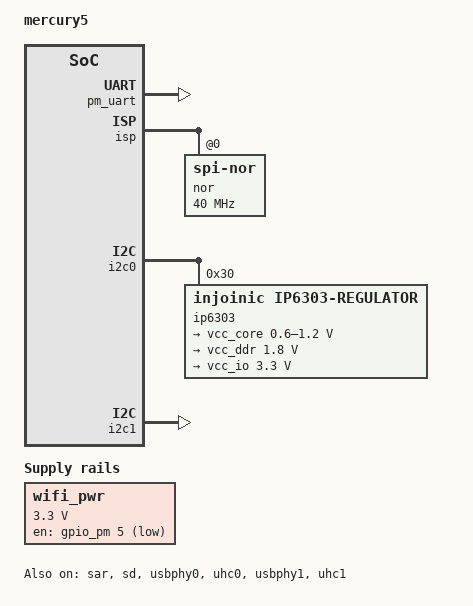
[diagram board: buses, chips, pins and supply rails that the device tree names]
// SPDX-License-Identifier: GPL-2.0
/*
 * Copyright (c) 2019 thingy.jp.
 * Author: Daniel Palmer <daniel@thingy.jp>
 */

/dts-v1/;

#include "mercury5-ssc8336n.dtsi"
#include <dt-bindings/gpio/gpio.h>

/ {
	model = "mercury5";
	compatible = "mstar,mercury5";
	
	chosen {
		stdout-path = "serial0:115200n8";
		bootargs = "console=ttyS0,115200 root=/dev/mtdblock3 clk_ignore_unused earlyprintk=serial,ttyS0,115200";
	};
	
	dummyirq: dummyirq@0 {
		compatible = "dummy-irq";
		interrupts-extended = <&intc_irq 63 IRQ_TYPE_LEVEL_HIGH>,
				      <&intc_irq 62 IRQ_TYPE_LEVEL_HIGH>,
			      <&intc_irq 61 IRQ_TYPE_LEVEL_HIGH>,
				<&intc_irq 60 IRQ_TYPE_LEVEL_HIGH>,
				<&intc_irq 59 IRQ_TYPE_LEVEL_HIGH>,
				<&intc_irq 58 IRQ_TYPE_LEVEL_HIGH>,
				<&intc_irq 57 IRQ_TYPE_LEVEL_HIGH>,
				<&intc_irq 56 IRQ_TYPE_LEVEL_HIGH>,
				<&intc_irq 55 IRQ_TYPE_LEVEL_HIGH>,
				<&intc_irq 54 IRQ_TYPE_LEVEL_HIGH>,
				<&intc_irq 53 IRQ_TYPE_LEVEL_HIGH>,
				<&intc_irq 52 IRQ_TYPE_LEVEL_HIGH>,
				<&intc_irq 51 IRQ_TYPE_LEVEL_HIGH>,
				<&intc_irq 50 IRQ_TYPE_LEVEL_HIGH>,
				<&intc_irq 49 IRQ_TYPE_LEVEL_HIGH>,
				<&intc_irq 48 IRQ_TYPE_LEVEL_HIGH>,
				<&intc_irq 47 IRQ_TYPE_LEVEL_HIGH>,
				<&intc_irq 46 IRQ_TYPE_LEVEL_HIGH>,
				<&intc_irq 45 IRQ_TYPE_LEVEL_HIGH>,
				<&intc_irq 44 IRQ_TYPE_LEVEL_HIGH>,
				<&intc_irq 43 IRQ_TYPE_LEVEL_HIGH>,
				<&intc_irq 42 IRQ_TYPE_LEVEL_HIGH>,
				<&intc_irq 41 IRQ_TYPE_LEVEL_HIGH>,
				<&intc_irq 40 IRQ_TYPE_LEVEL_HIGH>,
				<&intc_irq 39 IRQ_TYPE_LEVEL_HIGH>,
				<&intc_irq 38 IRQ_TYPE_LEVEL_HIGH>,
				<&intc_irq 37 IRQ_TYPE_LEVEL_HIGH>,
				<&intc_irq 36 IRQ_TYPE_LEVEL_HIGH>,
				<&intc_irq 35 IRQ_TYPE_LEVEL_HIGH>,
				<&intc_irq 34 IRQ_TYPE_LEVEL_HIGH>,
				<&intc_irq 33 IRQ_TYPE_LEVEL_HIGH>,
				<&intc_irq 32 IRQ_TYPE_LEVEL_HIGH>,
				<&intc_irq 31 IRQ_TYPE_LEVEL_HIGH>,
				<&intc_irq 30 IRQ_TYPE_LEVEL_HIGH>,
				<&intc_irq 29 IRQ_TYPE_LEVEL_HIGH>,
				<&intc_irq 28 IRQ_TYPE_LEVEL_HIGH>,
				<&intc_irq 27 IRQ_TYPE_LEVEL_HIGH>,
				<&intc_irq 26 IRQ_TYPE_LEVEL_HIGH>,
				<&intc_irq 25 IRQ_TYPE_LEVEL_HIGH>,
				<&intc_irq 24 IRQ_TYPE_LEVEL_HIGH>,
				<&intc_irq 23 IRQ_TYPE_LEVEL_HIGH>,
				<&intc_irq 22 IRQ_TYPE_LEVEL_HIGH>,
				<&intc_irq 21 IRQ_TYPE_LEVEL_HIGH>,
				<&intc_irq 20 IRQ_TYPE_LEVEL_HIGH>,
				<&intc_irq 19 IRQ_TYPE_LEVEL_HIGH>,
				<&intc_irq 18 IRQ_TYPE_LEVEL_HIGH>,
				<&intc_irq 17 IRQ_TYPE_LEVEL_HIGH>,
				<&intc_irq 16 IRQ_TYPE_LEVEL_HIGH>,
				<&intc_irq 15 IRQ_TYPE_LEVEL_HIGH>,
				<&intc_irq 14 IRQ_TYPE_LEVEL_HIGH>,
				<&intc_irq 13 IRQ_TYPE_LEVEL_HIGH>,
				<&intc_irq 12 IRQ_TYPE_LEVEL_HIGH>,
				<&intc_irq 11 IRQ_TYPE_LEVEL_HIGH>,
				<&intc_irq 10 IRQ_TYPE_LEVEL_HIGH>,
				<&intc_irq 9 IRQ_TYPE_LEVEL_HIGH>,
				<&intc_irq 8 IRQ_TYPE_LEVEL_HIGH>,
				<&intc_irq 7 IRQ_TYPE_LEVEL_HIGH>,
				<&intc_irq 6 IRQ_TYPE_LEVEL_HIGH>,
				<&intc_irq 5 IRQ_TYPE_LEVEL_HIGH>,
				<&intc_irq 4 IRQ_TYPE_LEVEL_HIGH>,
				<&intc_irq 3 IRQ_TYPE_LEVEL_HIGH>,
				<&intc_irq 2 IRQ_TYPE_LEVEL_HIGH>,
				<&intc_irq 1 IRQ_TYPE_LEVEL_HIGH>,
				<&intc_irq 0 IRQ_TYPE_LEVEL_HIGH>,

				<&intc_fiq 31 IRQ_TYPE_LEVEL_HIGH>,
				<&intc_fiq 30 IRQ_TYPE_LEVEL_HIGH>,
				<&intc_fiq 29 IRQ_TYPE_LEVEL_HIGH>,
				<&intc_fiq 28 IRQ_TYPE_LEVEL_HIGH>,
				<&intc_fiq 27 IRQ_TYPE_LEVEL_HIGH>,
				<&intc_fiq 26 IRQ_TYPE_LEVEL_HIGH>,
				<&intc_fiq 25 IRQ_TYPE_LEVEL_HIGH>,
				<&intc_fiq 24 IRQ_TYPE_LEVEL_HIGH>,
				<&intc_fiq 23 IRQ_TYPE_LEVEL_HIGH>,
				<&intc_fiq 22 IRQ_TYPE_LEVEL_HIGH>,
				<&intc_fiq 21 IRQ_TYPE_LEVEL_HIGH>,
				<&intc_fiq 20 IRQ_TYPE_LEVEL_HIGH>,
				<&intc_fiq 19 IRQ_TYPE_LEVEL_HIGH>,
				<&intc_fiq 18 IRQ_TYPE_LEVEL_HIGH>,
				<&intc_fiq 17 IRQ_TYPE_LEVEL_HIGH>,
				<&intc_fiq 16 IRQ_TYPE_LEVEL_HIGH>,
				<&intc_fiq 15 IRQ_TYPE_LEVEL_HIGH>,
				<&intc_fiq 14 IRQ_TYPE_LEVEL_HIGH>,
				<&intc_fiq 13 IRQ_TYPE_LEVEL_HIGH>,
				<&intc_fiq 12 IRQ_TYPE_LEVEL_HIGH>,
				<&intc_fiq 11 IRQ_TYPE_LEVEL_HIGH>,
				<&intc_fiq 10 IRQ_TYPE_LEVEL_HIGH>,
				<&intc_fiq 9 IRQ_TYPE_LEVEL_HIGH>,
				<&intc_fiq 8 IRQ_TYPE_LEVEL_HIGH>,
				<&intc_fiq 7 IRQ_TYPE_LEVEL_HIGH>,
				<&intc_fiq 6 IRQ_TYPE_LEVEL_HIGH>,
				<&intc_fiq 5 IRQ_TYPE_LEVEL_HIGH>,
				<&intc_fiq 4 IRQ_TYPE_LEVEL_HIGH>,
				<&intc_fiq 3 IRQ_TYPE_LEVEL_HIGH>,
				<&intc_fiq 2 IRQ_TYPE_LEVEL_HIGH>,
				<&intc_fiq 1 IRQ_TYPE_LEVEL_HIGH>,
				<&intc_fiq 0 IRQ_TYPE_LEVEL_HIGH>;
		status = "disabled";
	};

	 wifi_pwr: fixedregulator@0 {
		compatible = "regulator-fixed";
		regulator-name = "wifi_pwr";
		regulator-min-microvolt = <3300000>;
		regulator-max-microvolt = <3300000>;
		gpio = <&gpio_pm 5 0>;
	};

};

&cpu0 {
	cpu-supply = <&vcc_core>;
};

&pm_uart {
	status = "okay";
};

&isp {
	status = "okay";
	nor: nor@0 {
		#address-cells = <1>;
		#size-cells = <1>;
		compatible = "jedec,spi-nor";
		reg = <0>;
		spi-max-frequency = <40000000>;
	};
};

&i2c0 {
	status = "okay";
	ip6303: ip6303@30 {
		compatible = "injoinic,ip6303-regulator";
		reg = <0x30>;
		regulators {
			vcc_core: dc1 {
				regulator-name = "vcc-core";
				regulator-min-microvolt = <600000>;
				regulator-max-microvolt = <1200000>;
				regulator-always-on;
			};

			vcc_ddr: dc2 {
				regulator-name = "vcc-ddr";
				regulator-min-microvolt = <1800000>;
				regulator-max-microvolt = <1800000>;
				regulator-always-on;
			};

			vcc_io: dc3 {
				regulator-name = "vcc-io";
				regulator-min-microvolt = <3300000>;
				regulator-max-microvolt = <3300000>;
				regulator-always-on;
			};
		};
	};
};

&i2c1 {
	status = "okay";
};

&sar {
	status = "okay";
};

&sd {
	vmmc-supply = <&vcc_io>;
	vqmmc-supply = <&vcc_io>;
	cd-gpios = <&gpio_pm 7 GPIO_ACTIVE_LOW>;
	status = "okay";
};

&miu {
	ddr-supply = <&vcc_ddr>;
};

&usbphy0 {
	mstar,utmi-dxswap;
	status = "okay";
};

&uhc0 {
	status = "okay";
};

&usbphy1 {
	mstar,utmi-dxswap;
	status = "okay";
};

&uhc1 {
	status = "okay";
};
